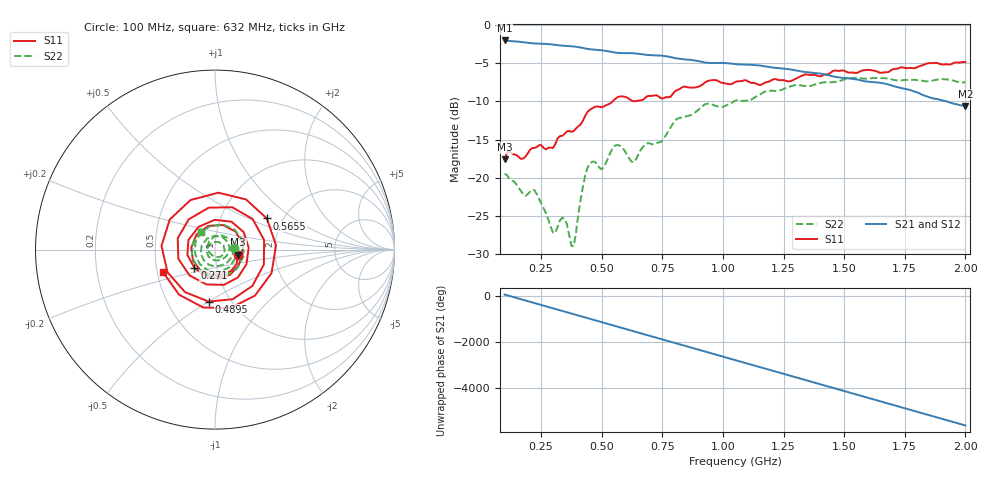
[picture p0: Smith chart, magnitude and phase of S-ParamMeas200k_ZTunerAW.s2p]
!Keysight Technologies,N5242B,MY48420967,A.15.65.19
!Date: Monday, December 19, 2022 13:56:59
!Correction: S11(C  2-Port  )
!S21(C  2-Port  )
!S12(C  2-Port  )
!S22(C  2-Port  )
!S2P File: Measurements: S11, S21, S12, S22:
# Hz S  dB  R 50
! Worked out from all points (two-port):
!   201 points, 100 MHz to 2 GHz, reference 50 ohm
!   highest |S21| = -1.99 dB at 100 MHz (marker M1); lowest = -10.6 dB at 2 GHz (marker M2)
!   |S21| within 3 dB of the highest: start of sweep to 1.02 GHz
!   lowest |S11| = -17.6 dB at 100 MHz (marker M3), VSWR 1.30, Z = 64.6 - j3.65 ohm
!   |S11| at or under -10 dB: start of sweep to 545.3 MHz
!   |S22| runs from -29.0 to -6.9 dB; largest |S21 - S12| = 0.00055
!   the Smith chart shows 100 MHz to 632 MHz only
!   S11 on the Smith chart (normalised r, x): 100 MHz: 1.29, -0.07; 271 MHz: 0.78, -0.16; 489.5 MHz: 0.79, -0.50; 565.5 MHz: 1.65, +0.65; 632 MHz: 0.53, -0.15
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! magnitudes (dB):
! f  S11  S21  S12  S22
! 100 MHz  -17.6  -2.0  -2.0  -19.5
! 119 MHz  -16.5  -2.1  -2.1  -20.1
! 185.5 MHz  -17.2  -2.3  -2.3  -22.4
! 223.5 MHz  -16.1  -2.4  -2.4  -21.7
! 271 MHz  -16.3  -2.4  -2.5  -24.7
! 299.5 MHz  -16.1  -2.5  -2.5  -27.2
! 347 MHz  -14.3  -2.7  -2.7  -25.4
! 375.5 MHz  -14.0  -2.8  -2.8  -29.0
! 385 MHz  -13.9  -2.8  -2.8  -29.0
! 423 MHz  -12.5  -3.0  -3.0  -21.2
! 451.5 MHz  -11.1  -3.1  -3.1  -18.2
! 489.5 MHz  -10.7  -3.2  -3.3  -18.6
! 565.5 MHz  -9.4  -3.6  -3.6  -15.7
! 632 MHz  -10.0  -3.7  -3.7  -18.0
! 679.5 MHz  -9.5  -3.9  -3.9  -15.7
! 736.5 MHz  -9.4  -4.0  -4.0  -15.4
! 812.5 MHz  -8.5  -4.4  -4.4  -12.3
! 926.5 MHz  -7.5  -4.9  -4.9  -10.4
! 1.05 GHz  -7.5  -5.1  -5.1  -9.9
! 1.373 GHz  -6.5  -6.2  -6.3  -7.8
! 1.687 GHz  -6.1  -7.8  -7.8  -7.0
! 2 GHz  -4.8  -10.6  -10.6  -7.5
